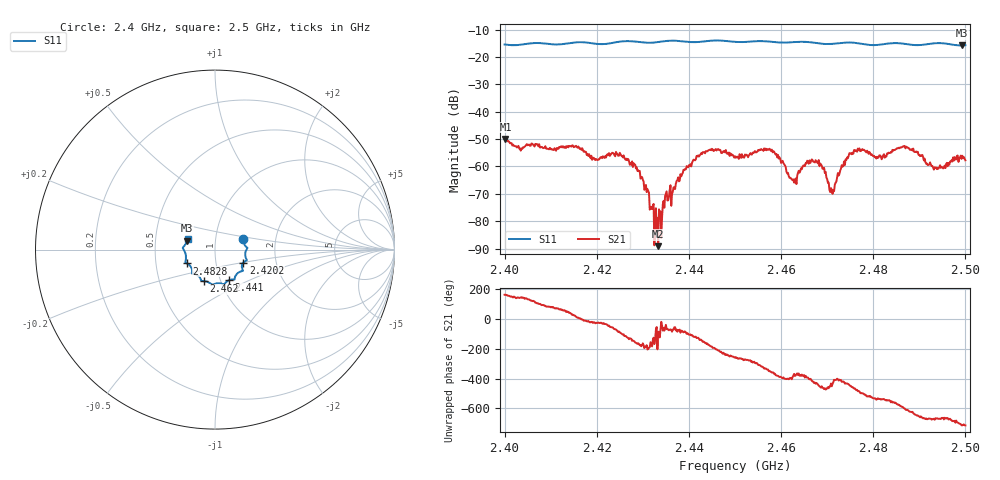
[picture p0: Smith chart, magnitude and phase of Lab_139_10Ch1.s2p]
# Hz S RI R 50
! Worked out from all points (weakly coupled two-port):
!   601 points, 2.4 GHz to 2.5 GHz, reference 50 ohm
!   highest |S21| = -49.90 dB at 2.4002 GHz (marker M1); lowest = -89.1 dB at 2.4333 GHz (marker M2)
!   lowest |S11| = -15.8 dB at 2.4992 GHz (marker M3), VSWR 1.39, Z = 36.4 + j3.72 ohm
!   |S11| at or under -10 dB: start of sweep to end of sweep
!   S12 and S22 are empty: the file has one direction only
!   S11 on the Smith chart (normalised r, x): 2.4 GHz: 1.36, +0.17; 2.4202 GHz: 1.36, -0.20; 2.441 GHz: 1.10, -0.39; 2.462 GHz: 0.84, -0.30; 2.4828 GHz: 0.72, -0.11; 2.5 GHz: 0.73, +0.09
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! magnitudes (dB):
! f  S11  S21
! 2.4 GHz  -15.4  -49.9
! 2.4002 GHz  -15.4  -49.9
! 2.4167 GHz  -14.6  -53.9
! 2.4202 GHz  -15.2  -57.7
! 2.4247 GHz  -14.4  -56.1
! 2.4282 GHz  -14.3  -59.2
! 2.4333 GHz  -14.5  -89.1
! 2.441 GHz  -14.6  -57.5
! 2.4447 GHz  -14.0  -53.8
! 2.45 GHz  -14.4  -56.3
! 2.4575 GHz  -14.4  -53.5
! 2.462 GHz  -14.6  -64.1
! 2.4667 GHz  -14.6  -57.4
! 2.469 GHz  -15.1  -60.9
! 2.471 GHz  -15.2  -68.5
! 2.4753 GHz  -14.7  -55.5
! 2.4828 GHz  -15.1  -56.4
! 2.4833 GHz  -15.0  -54.9
! 2.4872 GHz  -15.3  -52.8
! 2.4937 GHz  -14.9  -60.4
! 2.4992 GHz  -15.8  -57.2
! 2.5 GHz  -15.7  -57.7
